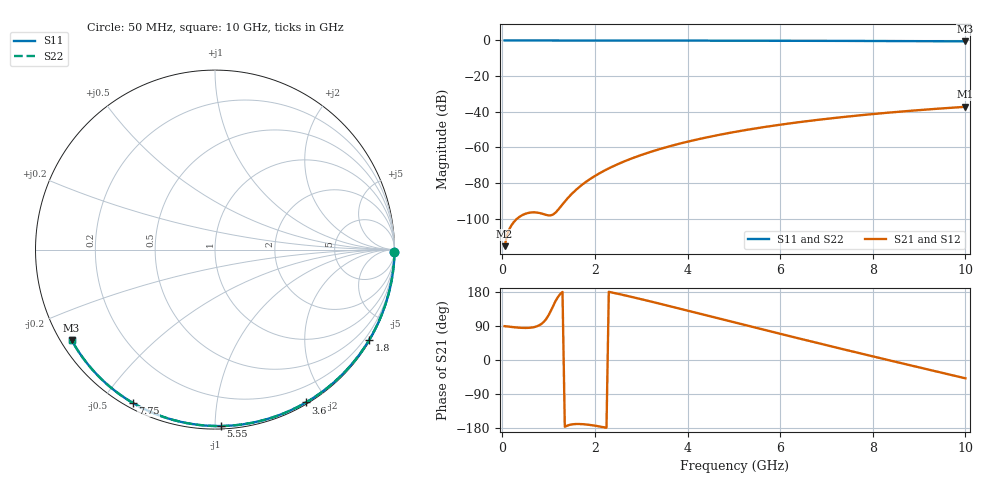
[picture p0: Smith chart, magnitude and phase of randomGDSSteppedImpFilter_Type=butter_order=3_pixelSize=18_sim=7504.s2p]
! freq	dB(S11)	phase(S11)	dB(S12)	phase(S12)
!  dB(S21)	phase(S21)	dB(S22)	phase(S22)
!S-par simulation data
#  GHz  S  DB  R 50
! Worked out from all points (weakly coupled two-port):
!   200 points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, 50 MHz to 10 GHz, reference 50 ohm
!   highest |S21| = -37.22 dB at 10 GHz (marker M1); lowest = -115.4 dB at 50 MHz (marker M2)
!   lowest |S11| = -0.5 dB at 10 GHz (marker M3), VSWR 35.21, Z = 1.54 - j14.4 ohm
!   |S11| at or under -10 dB: nowhere
!   |S22| runs from -0.5 to 0.0 dB; largest |S21 - S12| = 0
!   S11 on the Smith chart (normalised r, x): 50 MHz: open; 1.8 GHz: 0.03, -3.68; 3.6 GHz: 0.02, -1.76; 5.55 GHz: 0.02, -1.03; 7.75 GHz: 0.02, -0.60; 10 GHz: 0.03, -0.29
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0.05  -0.00 -0.9  -115.37 89.3  -115.37 89.3  -0.00 -0.9
0.45  -0.01 -7.7  -97.74 84.7  -97.74 84.7  -0.01 -7.7
0.9  -0.02 -15.4  -97.46 101.1  -97.46 101.1  -0.02 -15.4
1.3  -0.03 -22.1  -91.90 179.7  -91.90 179.7  -0.03 -22.1
1.75  -0.04 -29.6  -80.40 -169.5  -80.40 -169.5  -0.04 -29.6
1.8  -0.04 -30.4  -79.43 -170.0  -79.43 -170.0  -0.04 -30.4
1.95  -0.04 -32.9  -76.80 -172.3  -76.80 -172.3  -0.04 -32.9
2.1  -0.04 -35.3  -74.48 -175.4  -74.48 -175.4  -0.04 -35.3
2.3  -0.05 -38.6  -71.74 179.9  -71.74 179.9  -0.05 -38.6
2.5  -0.05 -41.8  -69.31 174.7  -69.31 174.7  -0.05 -41.8
2.9  -0.06 -48.3  -65.16 163.4  -65.16 163.4  -0.06 -48.3
3.4  -0.07 -56.1  -60.92 148.6  -60.92 148.6  -0.07 -56.1
3.6  -0.08 -59.2  -59.44 142.5  -59.44 142.5  -0.08 -59.2
4.3  -0.10 -69.9  -55.00 121.1  -55.00 121.1  -0.10 -69.9
5.05  -0.12 -81.0  -51.16 98.1  -51.16 98.1  -0.12 -81.0
5.55  -0.14 -88.2  -48.99 82.8  -48.99 82.8  -0.14 -88.2
6.1  -0.17 -95.9  -46.89 66.1  -46.89 66.1  -0.17 -95.9
6.7  -0.20 -104.2  -44.88 48.1  -44.88 48.1  -0.20 -104.2
7.75  -0.27 -118.3  -41.90 16.9  -41.90 16.9  -0.27 -118.3
8.35  -0.32 -126.2  -40.46 -0.6  -40.46 -0.6  -0.32 -126.2
9.2  -0.40 -137.3  -38.66 -25.3  -38.66 -25.3  -0.40 -137.3
10  -0.49 -147.7  -37.22 -48.3  -37.22 -48.3  -0.49 -147.8
